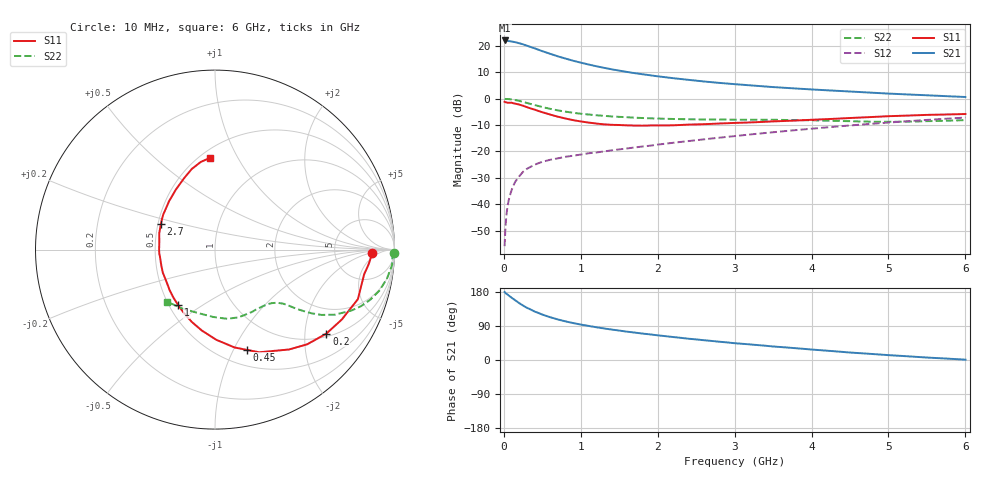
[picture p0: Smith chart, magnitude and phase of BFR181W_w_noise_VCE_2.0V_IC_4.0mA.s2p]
! Infineon Technologies  Discrete & RF Semiconductors
! BFR181W
! VCE =  2.0 V,  IC =  4.0 mA
! Common Emitter S-Parameters:  Jan 2017
# GHz  S  MA  R  50
!  f  S11  S21  S12  S22
! GHz  MAG  ANG  MAG  ANG  MAG  ANG  MAG  ANG
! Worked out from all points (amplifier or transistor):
!   77 points, 10 MHz to 6 GHz, reference 50 ohm
!   highest |S21| = 22.1 dB at 10 MHz (marker M1)
!   |S21| within 3 dB of that: start of sweep to 402 MHz
!   unconditionally stable (mu >= 1): 1.423 GHz to 3.53 GHz
!   at 130 MHz: K = 0.15, MSG = 27.1 dB, |S12| = -32.6 dB
!   at 2.2 GHz: K = 1.09, MAG = 10.4 dB, |S12| = -16.7 dB
!   at 6 GHz: K = 0.85, MSG = 3.9 dB, |S12| = -7.1 dB
!   lowest NFmin = 0.92 dB at 450 MHz
!   S11 on the Smith chart (normalised r, x): 10 MHz: 15, -2; 200 MHz: 1.09, -2.58; 450 MHz: 0.66, -1.13; 1 GHz: 0.56, -0.40; 2.7 GHz: 0.52, +0.17; 6 GHz: 0.56, +0.78
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0.01  0.8771 -1.1  12.76 179.5  0.0016 89.1  0.9986 -1.0
0.02  0.861 -5.2  12.63 176.9  0.0034 91.3  0.9893 -1.7
0.04  0.848 -8.0  12.54 173.9  0.0075 85.6  0.9898 -3.8
0.1  0.8427 -19.1  12.22 164.5  0.0183 79.5  0.9715 -9.6
0.15  0.807 -28.8  11.82 157.3  0.027 74.8  0.9442 -14.0
0.2  0.7774 -37.0  11.29 150.1  0.0338 71.6  0.91 -17.8
0.25  0.7367 -45.7  10.77 143.6  0.0412 67.4  0.8722 -21.2
0.3  0.6931 -53.4  10.16 137.8  0.0468 63.5  0.8318 -24.1
0.4  0.6228 -66.7  9.054 127.9  0.0561 59.0  0.7601 -28.5
0.45  0.5862 -72.4  8.507 124.1  0.0599 57.5  0.7283 -29.9
0.6  0.5025 -89.2  7.137 113.0  0.0695 53.7  0.6451 -33.4
0.7  0.457 -99.2  6.393 107.1  0.074 52.7  0.6029 -34.7
0.8  0.4228 -107.9  5.795 102.0  0.0792 52.5  0.5699 -35.7
1  0.3711 -123.7  4.841 93.5  0.0874 52.5  0.5199 -37.1
1.1  0.3537 -131.0  4.467 90.0  0.0925 53.1  0.503 -37.7
1.6  0.3131 -161.7  3.226 74.8  0.1142 55.6  0.4466 -41.7
2.1  0.3118 175.2  2.56 62.9  0.1405 57.7  0.4174 -48.0
2.7  0.3338 154.3  2.064 50.3  0.1761 58.5  0.404 -57.6
3.1  0.3516 143.3  1.845 42.8  0.2029 58.0  0.4002 -64.2
4.1  0.4048 121.1  1.475 26.1  0.2784 54.0  0.3871 -82.2
5.1  0.4719 104.8  1.235 11.6  0.3621 46.9  0.3661 -108.0
6  0.5137 92.8  1.08 0.9  0.4398 38.6  0.3937 -132.4
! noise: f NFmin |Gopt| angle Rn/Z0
0.45  0.92  0.39  16  0.24
0.9  0.97  0.36  31  0.24
1.9  1.4  0.2  79  0.2
2.4  1.56  0.17  94  0.22
